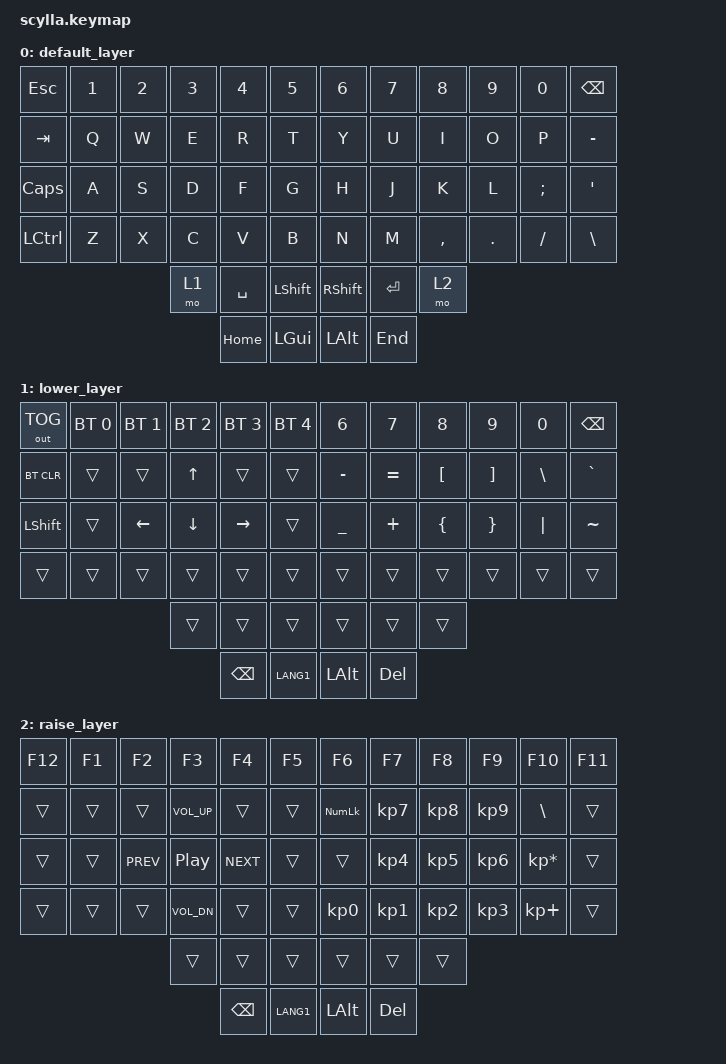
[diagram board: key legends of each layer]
/*
 * Copyright (c) 2020 The ZMK Contributors
 *
 * SPDX-License-Identifier: MIT
 */

#include <behaviors.dtsi>
#include <dt-bindings/zmk/keys.h>
#include <dt-bindings/zmk/bt.h>
#include <dt-bindings/zmk/outputs.h>

/ {
        keymap {
                compatible = "zmk,keymap";

                default_layer {
// -----------------------------------------------------------------------------------------
// |  TAB |  Q  |  W  |  E  |  R  |  T  |   |  Y  |  U   |  I  |  O  |  P  | BKSP |
// | CTRL |  A  |  S  |  D  |  F  |  G  |   |  H  |  J   |  K  |  L  |  ;  |  '   |
// | SHFT |  Z  |  X  |  C  |  V  |  B  |   |  N  |  M   |  ,  |  .  |  /  | ESC  |
//                    | GUI | LWR | SPC |   | ENT | RSE  | ALT |
                        bindings = <
   &kp ESC   &kp N1 &kp N2 &kp N3 &kp N4 &kp N5   &kp N6   &kp N7   &kp N8 &kp N9    &kp N0 &kp BSPC
   &kp TAB   &kp Q  &kp W &kp E &kp R &kp T       &kp Y &kp U  &kp I     &kp O   &kp P    &kp MINUS
   &kp CAPS &kp A &kp S &kp D &kp F &kp G       &kp H &kp J  &kp K     &kp L   &kp SEMI &kp SQT
   &kp LCTRL &kp Z &kp X &kp C &kp V &kp B       &kp N &kp M  &kp COMMA &kp DOT &kp FSLH &kp BSLH
                         &mo 1 &kp SPACE &kp LSHIFT  &kp RSHIFT   &kp RET   &mo 2  
                               &kp HOME &kp LGUI   &kp LALT    &kp END
                        >;
                };

                lower_layer {
// -----------------------------------------------------------------------------------------
// |  TAB |  1  |  2  |  3  |  4  |  5  |   |  6  |  7  |  8  |  9  |  0  | BKSP |
// | BTCLR| BT1 | BT2 | BT3 | BT4 | BT5 |   | LFT | DWN |  UP | RGT |     |      |
// | SHFT |     |     |     |     |     |   |     |     |     |     |     |      |
//                    | GUI |     | SPC |   | ENT |     | ALT |
                        bindings = <
   &out OUT_TOG   &bt BT_SEL 0 &bt BT_SEL 1 &bt BT_SEL 2 &bt BT_SEL 3 &bt BT_SEL 4         &kp N6   &kp N7   &kp N8 &kp N9    &kp N0 &kp BSPC
   &bt BT_CLR &trans       &trans       &kp UP       &trans       &trans         &kp MINUS &kp EQUAL &kp LBKT        &kp RBKT &kp BSLH &kp GRAVE
   &kp LSHFT  &trans       &kp LEFT     &kp DOWN     &kp RIGHT    &trans         &kp UNDER &kp PLUS  &kp LBRC        &kp RBRC &kp PIPE &kp TILDE
   &trans  &trans       &trans       &trans       &trans       &trans         &trans   &trans   &trans &trans    &trans &trans
                         &trans &trans &trans  &trans   &trans   &trans  
                               &kp BSPC &kp LANG1   &kp LALT    &kp DEL
                        >;
                };

                raise_layer {
// -----------------------------------------------------------------------------------------
// |  TAB |  !  |  @  |  #  |  $  |  %  |   |  ^  |  &  |  *  |  (  |  )  | BKSP |
// | CTRL |     |     |     |     |     |   |  -  |  =  |  [  |  ]  |  \  |  `   |
// | SHFT |     |     |     |     |     |   |  _  |  +  |  {  |  }  | "|" |  ~   |
//                    | GUI |     | SPC |   | ENT |     | ALT |
                        bindings = <
   &kp F12  &kp F1  &kp F2 &kp F3   &kp F4  &kp F5      &kp F6    &kp F7    &kp F8         &kp F9   &kp F10   &kp F11
   &trans &trans   &trans &kp C_VOL_UP   &trans   &trans      &kp KP_NUMLOCK &kp KP_N7  &kp KP_N8 &kp KP_N9 &kp BSLH &trans
   &trans &trans   &kp C_PREV &kp C_PLAY_PAUSE   &kp C_NEXT   &trans      &trans &kp KP_N4  &kp KP_N5 &kp KP_N6 &kp KP_MULTIPLY  &trans
   &trans  &trans  &trans &kp C_VOL_DN  &trans   &trans      &kp KP_N0   &kp KP_N1  &kp KP_N2 &kp KP_N3    &kp KP_PLUS &trans
                         &trans &trans &trans  &trans   &trans   &trans  
                               &kp BSPC &kp LANG1   &kp LALT    &kp DEL
                        >;
                };
            
        };
};
